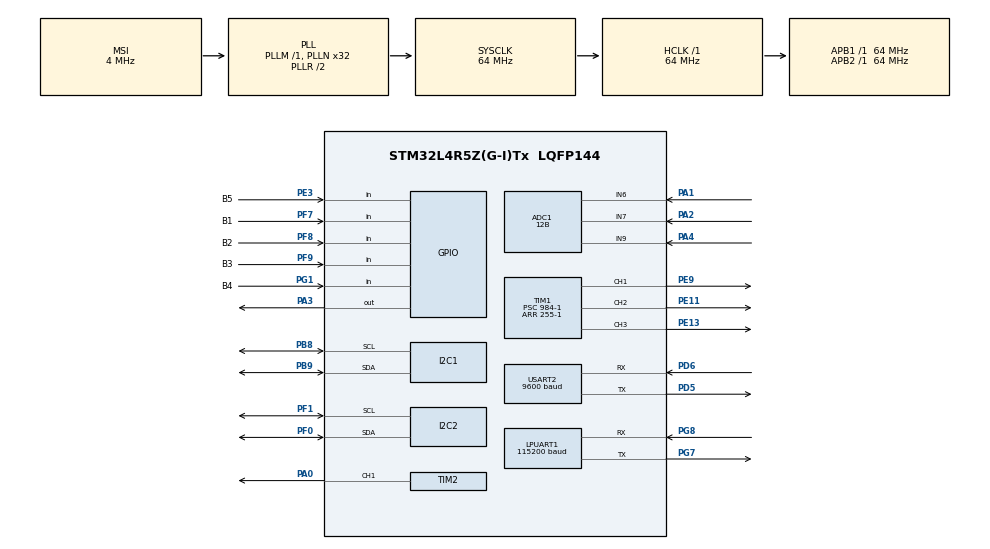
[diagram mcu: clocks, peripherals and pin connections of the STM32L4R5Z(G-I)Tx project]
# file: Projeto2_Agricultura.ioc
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ADC1.Channel-3\#ChannelRegularConversion=ADC_CHANNEL_6
ADC1.Channel-4\#ChannelRegularConversion=ADC_CHANNEL_7
ADC1.Channel-5\#ChannelRegularConversion=ADC_CHANNEL_9
ADC1.ClockPrescaler=ADC_CLOCK_ASYNC_DIV1
ADC1.ContinuousConvMode=ENABLE
ADC1.DMAContinuousRequests=ENABLE
ADC1.NbrOfConversion=3
ADC1.NbrOfConversionFlag=1
ADC1.OffsetNumber-3\#ChannelRegularConversion=ADC_OFFSET_NONE
ADC1.OffsetNumber-4\#ChannelRegularConversion=ADC_OFFSET_NONE
ADC1.OffsetNumber-5\#ChannelRegularConversion=ADC_OFFSET_NONE
ADC1.Rank-3\#ChannelRegularConversion=1
ADC1.Rank-4\#ChannelRegularConversion=2
ADC1.Rank-5\#ChannelRegularConversion=3
ADC1.Resolution=ADC_RESOLUTION_12B
ADC1.SamplingTime-3\#ChannelRegularConversion=ADC_SAMPLETIME_640CYCLES_5
ADC1.SamplingTime-4\#ChannelRegularConversion=ADC_SAMPLETIME_640CYCLES_5
ADC1.SamplingTime-5\#ChannelRegularConversion=ADC_SAMPLETIME_640CYCLES_5
ADC1.master=1
Dma.ADC1.0.Direction=DMA_PERIPH_TO_MEMORY
Dma.ADC1.0.EventEnable=DISABLE
Dma.ADC1.0.Instance=DMA1_Channel1
Dma.ADC1.0.MemDataAlignment=DMA_MDATAALIGN_WORD
Dma.ADC1.0.MemInc=DMA_MINC_ENABLE
Dma.ADC1.0.Mode=DMA_CIRCULAR
Dma.ADC1.0.PeriphDataAlignment=DMA_PDATAALIGN_WORD
Dma.ADC1.0.PeriphInc=DMA_PINC_DISABLE
Dma.ADC1.0.Polarity=HAL_DMAMUX_REQUEST_GEN_RISING
Dma.ADC1.0.Priority=DMA_PRIORITY_LOW
Dma.ADC1.0.RequestNumber=1
Dma.ADC1.0.SignalID=NONE
Dma.ADC1.0.SyncEnable=DISABLE
Dma.ADC1.0.SyncPolarity=HAL_DMAMUX_SYNC_NO_EVENT
Dma.ADC1.0.SyncRequestNumber=1
Dma.ADC1.0.SyncSignalID=NONE
Dma.Request0=ADC1
I2C1.Timing=0x10707DBC
I2C2.Timing=0x10707DBC
LPUART1.BaudRate=115200
LPUART1.WordLength=UART_WORDLENGTH_8B
Mcu.Family=STM32L4
Mcu.Name=STM32L4R5Z(G-I)Tx
Mcu.Package=LQFP144
NVIC.DMA1_Channel1_IRQn=true\:0\:0\:false\:false\:true\:false\:true
NVIC.PriorityGroup=NVIC_PRIORITYGROUP_4
PA0.Signal=S_TIM2_CH1
PA1.Signal=ADCx_IN6
PA13\ (JTMS/SWDIO).Mode=Serial_Wire
PA13\ (JTMS/SWDIO).Signal=SYS_JTMS-SWDIO
PA14\ (JTCK/SWCLK).Mode=Serial_Wire
PA14\ (JTCK/SWCLK).Signal=SYS_JTCK-SWCLK
PA2.Signal=ADCx_IN7
PA3.Signal=GPIO_Output
PA4.Signal=ADCx_IN9
PB8.Mode=I2C
PB8.Signal=I2C1_SCL
PB9.Mode=I2C
PB9.Signal=I2C1_SDA
PD5.Mode=Asynchronous
PD5.Signal=USART2_TX
PD6.Mode=Asynchronous
PD6.Signal=USART2_RX
PE11.Signal=S_TIM1_CH2
PE13.Signal=S_TIM1_CH3
PE3.GPIO_Label=B5
PE3.Signal=GPIO_Input
PE9.Signal=S_TIM1_CH1
PF0.Mode=I2C
PF0.Signal=I2C2_SDA
PF1.Mode=I2C
PF1.Signal=I2C2_SCL
PF7.GPIO_Label=B1
PF7.Signal=GPIO_Input
PF8.GPIO_Label=B2
PF8.Signal=GPIO_Input
PF9.GPIO_Label=B3
PF9.Signal=GPIO_Input
PG1.GPIO_Label=B4
PG1.Signal=GPIO_Input
PG7.Mode=Asynchronous
PG7.Signal=LPUART1_TX
PG8.Mode=Asynchronous
PG8.Signal=LPUART1_RX
ProjectManager.HeapSize=0x200
ProjectManager.StackSize=0x400
ProjectManager.TargetToolchain=STM32CubeIDE
RCC.ADCFreq_Value=32000000
RCC.AHBFreq_Value=64000000
RCC.APB1Freq_Value=64000000
RCC.APB1TimFreq_Value=64000000
RCC.APB2Freq_Value=64000000
RCC.APB2TimFreq_Value=64000000
RCC.CortexFreq_Value=64000000
RCC.HCLKFreq_Value=64000000
RCC.HSE_VALUE=8000000
RCC.HSI48_VALUE=48000000
RCC.HSI_VALUE=16000000
RCC.LSE_VALUE=32768
RCC.MSI_VALUE=4000000
RCC.PLLN=32
RCC.PLLSAI1N=16
RCC.SYSCLKFreq_VALUE=64000000
RCC.SYSCLKSource=RCC_SYSCLKSOURCE_PLLCLK
RCC.USBFreq_Value=32000000
RCC.VCOOutputFreq_Value=128000000
SH.ADCx_IN6.0=ADC1_IN6,IN6-Single-Ended
SH.ADCx_IN7.0=ADC1_IN7,IN7-Single-Ended
SH.ADCx_IN9.0=ADC1_IN9,IN9-Single-Ended
SH.S_TIM1_CH1.0=TIM1_CH1,PWM Generation1 CH1
SH.S_TIM1_CH2.0=TIM1_CH2,PWM Generation2 CH2
SH.S_TIM1_CH3.0=TIM1_CH3,PWM Generation3 CH3
SH.S_TIM2_CH1.0=TIM2_CH1,PWM Generation1 CH1
TIM1.Channel-PWM\ Generation1\ CH1=TIM_CHANNEL_1
TIM1.Channel-PWM\ Generation2\ CH2=TIM_CHANNEL_2
TIM1.Channel-PWM\ Generation3\ CH3=TIM_CHANNEL_3
TIM1.Period=255-1
TIM1.Prescaler=984-1
TIM2.Channel-PWM\ Generation1\ CH1=TIM_CHANNEL_1
TIM2.Period=1000-1
TIM2.Prescaler=900-1
USART2.BaudRate=9600
USART2.VirtualMode-Asynchronous=VM_ASYNC
VP_TIM1_VS_ClockSourceINT.Mode=Internal
VP_TIM2_VS_ClockSourceINT.Mode=Internal
board=custom

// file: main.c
/* USER CODE BEGIN Header */
/**
  ******************************************************************************
  * @file           : main.c
  * @brief          : Main program body
  ******************************************************************************
  * @attention
  *
  * <h2><center>&copy; Copyright (c) 2021 STMicroelectronics.
  * All rights reserved.</center></h2>
  *
  * This software component is licensed by ST under BSD 3-Clause license,
  * the "License"; You may not use this file except in compliance with the
  * License. You may obtain a copy of the License at:
  *                        opensource.org/licenses/BSD-3-Clause
  *
  ******************************************************************************
  */

// AUTORES:
// André Alexandre Ribeiro Araújo  	2018276072
// Bernardo Alexandre dos Santos Costa Leite  2017268958

/* USER CODE END Header */
#include "main.h"

/* USER CODE BEGIN Includes */
#include "i2c-lcd.h"
#include "sht2x_for_stm32_hal.h"
#include "DHT.h"
#include "math.h"
#include <stdio.h>
#include <string.h>
/* USER CODE END Includes */

ADC_HandleTypeDef hadc1;
DMA_HandleTypeDef hdma_adc1;

I2C_HandleTypeDef hi2c1;
I2C_HandleTypeDef hi2c2;

UART_HandleTypeDef hlpuart1;
UART_HandleTypeDef huart2;

TIM_HandleTypeDef htim1;
TIM_HandleTypeDef htim2;

void SystemClock_Config(void);
static void MX_GPIO_Init(void);
static void MX_DMA_Init(void);
static void MX_I2C1_Init(void);
static void MX_ADC1_Init(void);
static void MX_TIM1_Init(void);
static void MX_LPUART1_UART_Init(void);
static void MX_I2C2_Init(void);
static void MX_TIM2_Init(void);
static void MX_USART2_UART_Init(void);
/* USER CODE BEGIN PFP */

void set_rgb (uint8_t red, uint8_t green, uint8_t blue){   // Função para definir cores do led rgb
	htim1.Instance->CCR1 = red;
	htim1.Instance->CCR2 = green;
	htim1.Instance->CCR3 = blue;
}

/* USER CODE END PFP */

/* USER CODE BEGIN 0 */
 	uint32_t adcValue[3];

 	char buffer[64] = { 0 };
 	uint16_t slen;

 	uint16_t cont = 0;
 	float pluviosidade;

 	static DHT_sensor dht = {GPIOA, GPIO_PIN_3, DHT11, 0};

/* USER CODE END 0 */

int main(void)
{

  /* MCU Configuration--------------------------------------------------------*/

  /* Reset of all peripherals, Initializes the Flash interface and the Systick. */
  HAL_Init();

  /* Configure the system clock */
  SystemClock_Config();

  /* Initialize all configured peripherals */
  MX_GPIO_Init();
  MX_DMA_Init();
  MX_I2C1_Init();
  MX_ADC1_Init();
  MX_TIM1_Init();
  MX_LPUART1_UART_Init();
  MX_I2C2_Init();
  MX_TIM2_Init();
  MX_USART2_UART_Init();
  /* USER CODE BEGIN 2 */
  HAL_TIM_PWM_Start(&htim1, TIM_CHANNEL_1);   // Inicia o PWM do led rgb
  HAL_TIM_PWM_Start(&htim1, TIM_CHANNEL_2);   // Inicia o PWM do led rgb
  HAL_TIM_PWM_Start(&htim1, TIM_CHANNEL_3);   // Inicia o PWM do led rgb

  HAL_TIM_PWM_Start(&htim2, TIM_CHANNEL_1);   // Inicia o PWM do servo motor

  lcd_clear();

  HAL_ADC_Start_DMA(&hadc1, (uint32_t *)adcValue, 3); // start adc in DMA mode

  /* USER CODE END 2 */

  /* Infinite loop */
  /* USER CODE BEGIN WHILE */
  while (1)
  {

	  //lcd_clear();
	  lcd_send_cmd (0x80);
	  lcd_send_string ("SISTEMA DE");
	  lcd_send_cmd (0xc0);
	  lcd_send_string ("MONITORIZACAO");

	  //HAL_UART_Transmit(&huart2, "Wellcome", strlen("Wellcome"), 100);
	  //HAL_Delay(200);

	  ///////////// SENSOR TEMPERATURA E HUMIDADE DO AMBIENTE (DHT11) /////////////////////

 if(HAL_GPIO_ReadPin(B1_GPIO_Port, B1_Pin) == GPIO_PIN_RESET){

	 /*
	  SHT2x_Init(&hi2c2);
	  SHT2x_SetResolution(RES_14_12);

	  float cel = SHT2x_GetTemperature(1);
	  float rh = SHT2x_GetRelativeHumidity(1);

	  slen = sprintf(buffer, "%lu C\n", cel);
	  HAL_UART_Transmit(&hlpuart1, (uint32_t *)buffer, slen, 1000);
	  slen = sprintf(buffer, "%lu RH\n", rh);
	  HAL_UART_Transmit(&hlpuart1, (uint32_t *)buffer, slen, 1000);

	  */

	 char msg[20] = {0};
	 DHT_data d = DHT_getData(&dht);
	 lcd_clear();
	 lcd_send_cmd(0x80);
	 sprintf(msg, "TEMP:%dC", (uint8_t)d.temp);
	 lcd_send_string(msg);
	 lcd_send_cmd(0xc0);
	 sprintf(msg, "HUM:%d%%",(uint8_t)d.hum);
	 lcd_send_string(msg);

	 char msg6[20] = {0};
	 char msg7[20] = {0};
	 sprintf(msg6, "%d C\n", (uint8_t)d.temp);
	 HAL_UART_Transmit(&huart2, "Temperatura ambiental: ", strlen("Temperatura ambiental: "), 100);
	 HAL_UART_Transmit(&huart2, msg6, strlen(msg6), 100);
	 sprintf(msg7, "%d %%\n", (uint8_t)d.hum);
	 HAL_UART_Transmit(&huart2, "Humidade ambiental: ", strlen("Humidade ambiental: "), 100);
	 HAL_UART_Transmit(&huart2, msg7, strlen(msg7), 100);
	 HAL_Delay(200);

 	  set_rgb(255, 0, 0);

 	  HAL_Delay(2000);
 	  lcd_clear();
 	  set_rgb(0, 0, 0);

 }

 ///////////// SENSOR DE LUZ (LDR) /////////////////////

if(HAL_GPIO_ReadPin(B4_GPIO_Port, B4_Pin) == GPIO_PIN_RESET){
	float luminosidade = adcValue[2];
	float Luz = (luminosidade*100)/4096;   // Passar para percentagem ->  2^12 (adc resolution 12-bit) = 4096
	lcd_clear();
	lcd_send_cmd (0x80);
	lcd_send_string ("LUMINOSIDADE:");
	lcd_send_cmd (0xc0);
	lcd_send_float (Luz);
	lcd_send_cmd (0xc9);
	lcd_send_string ("%");

	char msg[20] = {0};
	sprintf(msg, "%f %%\n", Luz);
	HAL_UART_Transmit(&huart2, "Luminosidade: ", strlen("Luminosidade: "), 100);
	HAL_UART_Transmit(&huart2, msg, strlen(msg), 100);
	HAL_Delay(200);

	set_rgb(255, 0, 255);

	HAL_Delay(2000);
	lcd_clear();
	set_rgb(0, 0, 0);

}

///////////// PLUVIOSIDADE /////////////////////

if(HAL_GPIO_ReadPin(B5_GPIO_Port, B5_Pin) == GPIO_PIN_RESET){

	cont = cont + 1;
	pluviosidade = cont * 40;

	lcd_send_cmd (0x80);
	lcd_send_string ("PLUVIOSIDADE:");
	lcd_send_cmd (0xc0);
	lcd_send_float (pluviosidade);
	lcd_send_cmd (0xc9);
	lcd_send_string ("l/m2");

	char msg2[20] = {0};
	sprintf(msg2, "%f l/m2\n", pluviosidade);
	HAL_UART_Transmit(&huart2, "Pluviosidade: ", strlen("Pluviosidade: "), 100);
	HAL_UART_Transmit(&huart2, msg2, strlen(msg2), 100);
	HAL_Delay(200);

	set_rgb(255, 125, 220);

	HAL_Delay(2000);
	lcd_clear();
	set_rgb(0, 0, 0);

}

	  ///////////// SENSOR TEMPERATURA DO SOLO /////////////////////

 if(HAL_GPIO_ReadPin(B2_GPIO_Port, B2_Pin) == GPIO_PIN_RESET){

	  float Vsupply = 3.3; //power supply voltage (3.3 V rail) -STM32 ADC pin is NOT 5 V tolerant
	  float Vout; //Voltage divider output
	  float R_NTC; //NTC thermistor resistance in Ohms
	  float R_100k = 98700; //100k resistor measured resistance in Ohms (other element in the voltage divider)
	  float B_param = 3700; //B-coefficient of the thermistor
	  float T0 = 298.15; //25°C in Kelvin
	  float Temp_K; //Temperature measured by the thermistor (Kelvin)
	  float Temp_C; //Temperature measured by the thermistor (Celsius)

	  lcd_clear();
	  float VoutPin = adcValue[0];
	  Vout = VoutPin*(3.3/4095); //4095 -> 12 bit resolution of the blue pill
	  R_NTC = (Vout * R_100k) /(Vsupply - Vout); //calculating the resistance of the thermistor
	  Temp_K = (T0*B_param)/(T0*log(R_NTC/R_100k)+B_param); //Temperature in Kelvin
	  Temp_C = Temp_K - 273.15; //converting into Celsius
	  lcd_send_cmd (0x80);
	  lcd_send_string ("TEMP SOLO:");
	  lcd_send_cmd (0xc0);
	  lcd_send_float (Temp_C);
	  lcd_send_cmd (0xc9);
	  lcd_send_string ("C");

	  char msg3[20] = {0};
	  sprintf(msg3, "%f C\n", Temp_C);
	  HAL_UART_Transmit(&huart2, "Temperatura do solo: ", strlen("Temperatura do solo: "), 100);
	  HAL_UART_Transmit(&huart2, msg3, strlen(msg3), 100);
	  HAL_Delay(200);

	  //slen = sprintf(buffer, "%lu C\n", adcValue[0]);
	  //HAL_UART_Transmit(&hlpuart1, (uint32_t *)buffer, slen, 1000);

	  set_rgb(0, 0, 255);

	  HAL_Delay(2000);
	  lcd_clear();

	  set_rgb(0, 0, 0);

 }

	  ///////////// SENSOR HUMIDADE DO SOLO /////////////////////

 if(HAL_GPIO_ReadPin(B3_GPIO_Port, B3_Pin) == GPIO_PIN_RESET){

	  lcd_clear();
	  float leitura = adcValue[1];
	  float humidade_solo = ((leitura*100)/4096);   // Passar para percentagem ->  2^12 (adc resolution 12-bit) = 4096
	  lcd_send_cmd (0x80);
	  lcd_send_string ("HUM SOLO:");
	  lcd_send_cmd (0xc0);
	  lcd_send_float (humidade_solo);
	  lcd_send_cmd (0xc9);
	  lcd_send_string ("%");

	  char msg4[20] = {0};
	  sprintf(msg4, "%f %%\n", humidade_solo);
	  HAL_UART_Transmit(&huart2, "Humidade do solo: ", strlen("Humidade do solo: "), 100);
	  HAL_UART_Transmit(&huart2, msg4, strlen(msg4), 100);
	  HAL_Delay(200);

	  //slen = sprintf(buffer, "%lu RH\n", adcValue[1]);
	  //HAL_UART_Transmit(&hlpuart1, (uint32_t *)buffer, slen, 1000);

	  set_rgb(0, 255, 0);

	  //HAL_Delay(2000);

	  if(leitura < 2600){   // REGAR (leitura < 63 %)
		  HAL_Delay(2000);
		  set_rgb(0, 0, 0);
		  HAL_Delay(1000);
		  set_rgb(0, 255, 0);
		  HAL_Delay(1000);
		  set_rgb(0, 0, 0);
		  HAL_Delay(1000);
		  set_rgb(0, 255, 0);
		  HAL_Delay(1000);
		  set_rgb(0, 0, 0);
		  HAL_Delay(1000);
		  set_rgb(0, 255, 0);
		  HAL_Delay(1000);
		  set_rgb(0, 0, 0);
		  HAL_Delay(1000);

	  }

	  /*
	  //SERVO MOTOR
	  if(leitura < 2100){
		  htim2.Instance->CCR1 = 25;  // duty cycle is .5 ms
		  HAL_Delay(1000);
		  //htim2.Instance->CCR1 = 75;  // duty cycle is 1.5 ms
		  //HAL_Delay(1000);
		  htim2.Instance->CCR1 = 125;  // duty cycle is 2.5 ms
		  HAL_Delay(1000);
	  }
	  */

	  /*
	  if(humidade_solo < 2100){
		  int i = 25;
		  while(i<125){
			  htim2.Instance->CCR1 = i;
			  i++;
			  HAL_Delay(100);
		  }
	  }
	  */

	  HAL_Delay(2000);
	  lcd_clear();

	  set_rgb(0, 0, 0);

 }

    /* USER CODE END WHILE */

  }
}

void SystemClock_Config(void)
{
  RCC_OscInitTypeDef RCC_OscInitStruct = {0};
  RCC_ClkInitTypeDef RCC_ClkInitStruct = {0};
  RCC_PeriphCLKInitTypeDef PeriphClkInit = {0};

  /** Configure the main internal regulator output voltage
  */
  if (HAL_PWREx_ControlVoltageScaling(PWR_REGULATOR_VOLTAGE_SCALE1) != HAL_OK)
  {
    Error_Handler();
  }
  /** Initializes the RCC Oscillators according to the specified parameters
  * in the RCC_OscInitTypeDef structure.
  */
  RCC_OscInitStruct.OscillatorType = RCC_OSCILLATORTYPE_MSI;
  RCC_OscInitStruct.MSIState = RCC_MSI_ON;
  RCC_OscInitStruct.MSICalibrationValue = 0;
  RCC_OscInitStruct.MSIClockRange = RCC_MSIRANGE_6;
  RCC_OscInitStruct.PLL.PLLState = RCC_PLL_ON;
  RCC_OscInitStruct.PLL.PLLSource = RCC_PLLSOURCE_MSI;
  RCC_OscInitStruct.PLL.PLLM = 1;
  RCC_OscInitStruct.PLL.PLLN = 32;
  RCC_OscInitStruct.PLL.PLLP = RCC_PLLP_DIV2;
  RCC_OscInitStruct.PLL.PLLQ = RCC_PLLQ_DIV2;
  RCC_OscInitStruct.PLL.PLLR = RCC_PLLR_DIV2;
  if (HAL_RCC_OscConfig(&RCC_OscInitStruct) != HAL_OK)
  {
    Error_Handler();
  }
  /** Initializes the CPU, AHB and APB buses clocks
  */
  RCC_ClkInitStruct.ClockType = RCC_CLOCKTYPE_HCLK|RCC_CLOCKTYPE_SYSCLK
                              |RCC_CLOCKTYPE_PCLK1|RCC_CLOCKTYPE_PCLK2;
  RCC_ClkInitStruct.SYSCLKSource = RCC_SYSCLKSOURCE_PLLCLK;
  RCC_ClkInitStruct.AHBCLKDivider = RCC_SYSCLK_DIV1;
  RCC_ClkInitStruct.APB1CLKDivider = RCC_HCLK_DIV1;
  RCC_ClkInitStruct.APB2CLKDivider = RCC_HCLK_DIV1;

  if (HAL_RCC_ClockConfig(&RCC_ClkInitStruct, FLASH_LATENCY_3) != HAL_OK)
  {
    Error_Handler();
  }
  PeriphClkInit.PeriphClockSelection = RCC_PERIPHCLK_USART2|RCC_PERIPHCLK_LPUART1
                              |RCC_PERIPHCLK_I2C1|RCC_PERIPHCLK_I2C2
                              |RCC_PERIPHCLK_ADC;
  PeriphClkInit.Usart2ClockSelection = RCC_USART2CLKSOURCE_PCLK1;
  PeriphClkInit.Lpuart1ClockSelection = RCC_LPUART1CLKSOURCE_PCLK1;
  PeriphClkInit.I2c1ClockSelection = RCC_I2C1CLKSOURCE_PCLK1;
  PeriphClkInit.I2c2ClockSelection = RCC_I2C2CLKSOURCE_PCLK1;
  PeriphClkInit.AdcClockSelection = RCC_ADCCLKSOURCE_PLLSAI1;
  PeriphClkInit.PLLSAI1.PLLSAI1Source = RCC_PLLSOURCE_MSI;
  PeriphClkInit.PLLSAI1.PLLSAI1M = 1;
  PeriphClkInit.PLLSAI1.PLLSAI1N = 16;
  PeriphClkInit.PLLSAI1.PLLSAI1P = RCC_PLLP_DIV2;
  PeriphClkInit.PLLSAI1.PLLSAI1Q = RCC_PLLQ_DIV2;
  PeriphClkInit.PLLSAI1.PLLSAI1R = RCC_PLLR_DIV2;
  PeriphClkInit.PLLSAI1.PLLSAI1ClockOut = RCC_PLLSAI1_ADC1CLK;
  if (HAL_RCCEx_PeriphCLKConfig(&PeriphClkInit) != HAL_OK)
  {
    Error_Handler();
  }
}

static void MX_ADC1_Init(void)
{

  ADC_ChannelConfTypeDef sConfig = {0};

  /** Common config
  */
  hadc1.Instance = ADC1;
  hadc1.Init.ClockPrescaler = ADC_CLOCK_ASYNC_DIV1;
  hadc1.Init.Resolution = ADC_RESOLUTION_12B;
  hadc1.Init.DataAlign = ADC_DATAALIGN_RIGHT;
  hadc1.Init.ScanConvMode = ADC_SCAN_ENABLE;
  hadc1.Init.EOCSelection = ADC_EOC_SINGLE_CONV;
  hadc1.Init.LowPowerAutoWait = DISABLE;
  hadc1.Init.ContinuousConvMode = ENABLE;
  hadc1.Init.NbrOfConversion = 3;
  hadc1.Init.DiscontinuousConvMode = DISABLE;
  hadc1.Init.ExternalTrigConv = ADC_SOFTWARE_START;
  hadc1.Init.ExternalTrigConvEdge = ADC_EXTERNALTRIGCONVEDGE_NONE;
  hadc1.Init.DMAContinuousRequests = ENABLE;
  hadc1.Init.Overrun = ADC_OVR_DATA_PRESERVED;
  hadc1.Init.OversamplingMode = DISABLE;
  if (HAL_ADC_Init(&hadc1) != HAL_OK)
  {
    Error_Handler();
  }
  /** Configure Regular Channel
  */
  sConfig.Channel = ADC_CHANNEL_6;
  sConfig.Rank = ADC_REGULAR_RANK_1;
  sConfig.SamplingTime = ADC_SAMPLETIME_640CYCLES_5;
  sConfig.SingleDiff = ADC_SINGLE_ENDED;
  sConfig.OffsetNumber = ADC_OFFSET_NONE;
  sConfig.Offset = 0;
  if (HAL_ADC_ConfigChannel(&hadc1, &sConfig) != HAL_OK)
  {
    Error_Handler();
  }
  /** Configure Regular Channel
  */
  sConfig.Channel = ADC_CHANNEL_7;
  sConfig.Rank = ADC_REGULAR_RANK_2;
  if (HAL_ADC_ConfigChannel(&hadc1, &sConfig) != HAL_OK)
  {
    Error_Handler();
  }
  /** Configure Regular Channel
  */
  sConfig.Channel = ADC_CHANNEL_9;
  sConfig.Rank = ADC_REGULAR_RANK_3;
  if (HAL_ADC_ConfigChannel(&hadc1, &sConfig) != HAL_OK)
  {
    Error_Handler();
  }

}

static void MX_I2C1_Init(void)
{

  hi2c1.Instance = I2C1;
  hi2c1.Init.Timing = 0x10707DBC;
  hi2c1.Init.OwnAddress1 = 0;
  hi2c1.Init.AddressingMode = I2C_ADDRESSINGMODE_7BIT;
  hi2c1.Init.DualAddressMode = I2C_DUALADDRESS_DISABLE;
  hi2c1.Init.OwnAddress2 = 0;
  hi2c1.Init.OwnAddress2Masks = I2C_OA2_NOMASK;
  hi2c1.Init.GeneralCallMode = I2C_GENERALCALL_DISABLE;
  hi2c1.Init.NoStretchMode = I2C_NOSTRETCH_DISABLE;
  if (HAL_I2C_Init(&hi2c1) != HAL_OK)
  {
    Error_Handler();
  }
  /** Configure Analogue filter
  */
  if (HAL_I2CEx_ConfigAnalogFilter(&hi2c1, I2C_ANALOGFILTER_ENABLE) != HAL_OK)
  {
    Error_Handler();
  }
  /** Configure Digital filter
  */
  if (HAL_I2CEx_ConfigDigitalFilter(&hi2c1, 0) != HAL_OK)
  {
    Error_Handler();
  }

}

static void MX_I2C2_Init(void)
{

  hi2c2.Instance = I2C2;
  hi2c2.Init.Timing = 0x10707DBC;
  hi2c2.Init.OwnAddress1 = 0;
  hi2c2.Init.AddressingMode = I2C_ADDRESSINGMODE_7BIT;
  hi2c2.Init.DualAddressMode = I2C_DUALADDRESS_DISABLE;
  hi2c2.Init.OwnAddress2 = 0;
  hi2c2.Init.OwnAddress2Masks = I2C_OA2_NOMASK;
  hi2c2.Init.GeneralCallMode = I2C_GENERALCALL_DISABLE;
  hi2c2.Init.NoStretchMode = I2C_NOSTRETCH_DISABLE;
  if (HAL_I2C_Init(&hi2c2) != HAL_OK)
  {
    Error_Handler();
  }
  /** Configure Analogue filter
  */
  if (HAL_I2CEx_ConfigAnalogFilter(&hi2c2, I2C_ANALOGFILTER_ENABLE) != HAL_OK)
  {
    Error_Handler();
  }
  /** Configure Digital filter
  */
  if (HAL_I2CEx_ConfigDigitalFilter(&hi2c2, 0) != HAL_OK)
  {
    Error_Handler();
  }

}

static void MX_LPUART1_UART_Init(void)
{

  hlpuart1.Instance = LPUART1;
  hlpuart1.Init.BaudRate = 115200;
  hlpuart1.Init.WordLength = UART_WORDLENGTH_8B;
  hlpuart1.Init.StopBits = UART_STOPBITS_1;
  hlpuart1.Init.Parity = UART_PARITY_NONE;
  hlpuart1.Init.Mode = UART_MODE_TX_RX;
  hlpuart1.Init.HwFlowCtl = UART_HWCONTROL_NONE;
  hlpuart1.Init.OneBitSampling = UART_ONE_BIT_SAMPLE_DISABLE;
  hlpuart1.Init.ClockPrescaler = UART_PRESCALER_DIV1;
  hlpuart1.AdvancedInit.AdvFeatureInit = UART_ADVFEATURE_NO_INIT;
  hlpuart1.FifoMode = UART_FIFOMODE_DISABLE;
  if (HAL_UART_Init(&hlpuart1) != HAL_OK)
  {
    Error_Handler();
  }
  if (HAL_UARTEx_SetTxFifoThreshold(&hlpuart1, UART_TXFIFO_THRESHOLD_1_8) != HAL_OK)
  {
    Error_Handler();
  }
  if (HAL_UARTEx_SetRxFifoThreshold(&hlpuart1, UART_RXFIFO_THRESHOLD_1_8) != HAL_OK)
  {
    Error_Handler();
  }
  if (HAL_UARTEx_DisableFifoMode(&hlpuart1) != HAL_OK)
  {
    Error_Handler();
  }

}

static void MX_USART2_UART_Init(void)
{

  huart2.Instance = USART2;
  huart2.Init.BaudRate = 9600;
  huart2.Init.WordLength = UART_WORDLENGTH_8B;
  huart2.Init.StopBits = UART_STOPBITS_1;
  huart2.Init.Parity = UART_PARITY_NONE;
  huart2.Init.Mode = UART_MODE_TX_RX;
  huart2.Init.HwFlowCtl = UART_HWCONTROL_NONE;
  huart2.Init.OverSampling = UART_OVERSAMPLING_16;
  huart2.Init.OneBitSampling = UART_ONE_BIT_SAMPLE_DISABLE;
  huart2.Init.ClockPrescaler = UART_PRESCALER_DIV1;
  huart2.AdvancedInit.AdvFeatureInit = UART_ADVFEATURE_NO_INIT;
  if (HAL_UART_Init(&huart2) != HAL_OK)
  {
    Error_Handler();
  }
  if (HAL_UARTEx_SetTxFifoThreshold(&huart2, UART_TXFIFO_THRESHOLD_1_8) != HAL_OK)
  {
    Error_Handler();
  }
  if (HAL_UARTEx_SetRxFifoThreshold(&huart2, UART_RXFIFO_THRESHOLD_1_8) != HAL_OK)
  {
    Error_Handler();
  }
  if (HAL_UARTEx_DisableFifoMode(&huart2) != HAL_OK)
  {
    Error_Handler();
  }

}

static void MX_TIM1_Init(void)
{

  TIM_ClockConfigTypeDef sClockSourceConfig = {0};
  TIM_MasterConfigTypeDef sMasterConfig = {0};
  TIM_OC_InitTypeDef sConfigOC = {0};
  TIM_BreakDeadTimeConfigTypeDef sBreakDeadTimeConfig = {0};

  htim1.Instance = TIM1;
  htim1.Init.Prescaler = 984-1;
  htim1.Init.CounterMode = TIM_COUNTERMODE_UP;
  htim1.Init.Period = 255-1;
  htim1.Init.ClockDivision = TIM_CLOCKDIVISION_DIV1;
  htim1.Init.RepetitionCounter = 0;
  htim1.Init.AutoReloadPreload = TIM_AUTORELOAD_PRELOAD_DISABLE;
  if (HAL_TIM_Base_Init(&htim1) != HAL_OK)
  {
    Error_Handler();
  }
  sClockSourceConfig.ClockSource = TIM_CLOCKSOURCE_INTERNAL;
  if (HAL_TIM_ConfigClockSource(&htim1, &sClockSourceConfig) != HAL_OK)
  {
    Error_Handler();
  }
  if (HAL_TIM_PWM_Init(&htim1) != HAL_OK)
  {
    Error_Handler();
  }
  sMasterConfig.MasterOutputTrigger = TIM_TRGO_RESET;
  sMasterConfig.MasterOutputTrigger2 = TIM_TRGO2_RESET;
  sMasterConfig.MasterSlaveMode = TIM_MASTERSLAVEMODE_DISABLE;
  if (HAL_TIMEx_MasterConfigSynchronization(&htim1, &sMasterConfig) != HAL_OK)
  {
    Error_Handler();
  }
  sConfigOC.OCMode = TIM_OCMODE_PWM1;
  sConfigOC.Pulse = 0;
  sConfigOC.OCPolarity = TIM_OCPOLARITY_HIGH;
  sConfigOC.OCNPolarity = TIM_OCNPOLARITY_HIGH;
  sConfigOC.OCFastMode = TIM_OCFAST_DISABLE;
  sConfigOC.OCIdleState = TIM_OCIDLESTATE_RESET;
  sConfigOC.OCNIdleState = TIM_OCNIDLESTATE_RESET;
  if (HAL_TIM_PWM_ConfigChannel(&htim1, &sConfigOC, TIM_CHANNEL_1) != HAL_OK)
  {
    Error_Handler();
  }
  if (HAL_TIM_PWM_ConfigChannel(&htim1, &sConfigOC, TIM_CHANNEL_2) != HAL_OK)
  {
    Error_Handler();
  }
  if (HAL_TIM_PWM_ConfigChannel(&htim1, &sConfigOC, TIM_CHANNEL_3) != HAL_OK)
  {
    Error_Handler();
  }
  sBreakDeadTimeConfig.OffStateRunMode = TIM_OSSR_DISABLE;
  sBreakDeadTimeConfig.OffStateIDLEMode = TIM_OSSI_DISABLE;
  sBreakDeadTimeConfig.LockLevel = TIM_LOCKLEVEL_OFF;
  sBreakDeadTimeConfig.DeadTime = 0;
  sBreakDeadTimeConfig.BreakState = TIM_BREAK_DISABLE;
  sBreakDeadTimeConfig.BreakPolarity = TIM_BREAKPOLARITY_HIGH;
  sBreakDeadTimeConfig.BreakFilter = 0;
  sBreakDeadTimeConfig.Break2State = TIM_BREAK2_DISABLE;
  sBreakDeadTimeConfig.Break2Polarity = TIM_BREAK2POLARITY_HIGH;
  sBreakDeadTimeConfig.Break2Filter = 0;
  sBreakDeadTimeConfig.AutomaticOutput = TIM_AUTOMATICOUTPUT_DISABLE;
  if (HAL_TIMEx_ConfigBreakDeadTime(&htim1, &sBreakDeadTimeConfig) != HAL_OK)
  {
    Error_Handler();
  }
  HAL_TIM_MspPostInit(&htim1);

}

static void MX_TIM2_Init(void)
{

  TIM_ClockConfigTypeDef sClockSourceConfig = {0};
  TIM_MasterConfigTypeDef sMasterConfig = {0};
  TIM_OC_InitTypeDef sConfigOC = {0};

  htim2.Instance = TIM2;
  htim2.Init.Prescaler = 900-1;
  htim2.Init.CounterMode = TIM_COUNTERMODE_UP;
  htim2.Init.Period = 1000-1;
  htim2.Init.ClockDivision = TIM_CLOCKDIVISION_DIV1;
  htim2.Init.AutoReloadPreload = TIM_AUTORELOAD_PRELOAD_DISABLE;
  if (HAL_TIM_Base_Init(&htim2) != HAL_OK)
  {
    Error_Handler();
  }
  sClockSourceConfig.ClockSource = TIM_CLOCKSOURCE_INTERNAL;
  if (HAL_TIM_ConfigClockSource(&htim2, &sClockSourceConfig) != HAL_OK)
  {
    Error_Handler();
  }
  if (HAL_TIM_PWM_Init(&htim2) != HAL_OK)
  {
    Error_Handler();
  }
  sMasterConfig.MasterOutputTrigger = TIM_TRGO_RESET;
  sMasterConfig.MasterSlaveMode = TIM_MASTERSLAVEMODE_DISABLE;
  if (HAL_TIMEx_MasterConfigSynchronization(&htim2, &sMasterConfig) != HAL_OK)
  {
    Error_Handler();
  }
  sConfigOC.OCMode = TIM_OCMODE_PWM1;
  sConfigOC.Pulse = 0;
  sConfigOC.OCPolarity = TIM_OCPOLARITY_HIGH;
  sConfigOC.OCFastMode = TIM_OCFAST_DISABLE;
  if (HAL_TIM_PWM_ConfigChannel(&htim2, &sConfigOC, TIM_CHANNEL_1) != HAL_OK)
  {
    Error_Handler();
  }
  HAL_TIM_MspPostInit(&htim2);

}

static void MX_DMA_Init(void)
{

  /* DMA controller clock enable */
  __HAL_RCC_DMAMUX1_CLK_ENABLE();
  __HAL_RCC_DMA1_CLK_ENABLE();

  /* DMA interrupt init */
  /* DMA1_Channel1_IRQn interrupt configuration */
  HAL_NVIC_SetPriority(DMA1_Channel1_IRQn, 0, 0);
  HAL_NVIC_EnableIRQ(DMA1_Channel1_IRQn);

}

static void MX_GPIO_Init(void)
{
  GPIO_InitTypeDef GPIO_InitStruct = {0};

  /* GPIO Ports Clock Enable */
  __HAL_RCC_GPIOE_CLK_ENABLE();
  __HAL_RCC_GPIOF_CLK_ENABLE();
  __HAL_RCC_GPIOA_CLK_ENABLE();
  __HAL_RCC_GPIOG_CLK_ENABLE();
  HAL_PWREx_EnableVddIO2();
  __HAL_RCC_GPIOD_CLK_ENABLE();
  __HAL_RCC_GPIOB_CLK_ENABLE();

  /*Configure GPIO pin Output Level */
  HAL_GPIO_WritePin(GPIOA, GPIO_PIN_3, GPIO_PIN_RESET);

  /*Configure GPIO pin : B5_Pin */
  GPIO_InitStruct.Pin = B5_Pin;
  GPIO_InitStruct.Mode = GPIO_MODE_INPUT;
  GPIO_InitStruct.Pull = GPIO_NOPULL;
  HAL_GPIO_Init(B5_GPIO_Port, &GPIO_InitStruct);

  /*Configure GPIO pins : B1_Pin B2_Pin B3_Pin */
  GPIO_InitStruct.Pin = B1_Pin|B2_Pin|B3_Pin;
  GPIO_InitStruct.Mode = GPIO_MODE_INPUT;
  GPIO_InitStruct.Pull = GPIO_NOPULL;
  HAL_GPIO_Init(GPIOF, &GPIO_InitStruct);

  /*Configure GPIO pin : PA3 */
  GPIO_InitStruct.Pin = GPIO_PIN_3;
  GPIO_InitStruct.Mode = GPIO_MODE_OUTPUT_PP;
  GPIO_InitStruct.Pull = GPIO_NOPULL;
  GPIO_InitStruct.Speed = GPIO_SPEED_FREQ_LOW;
  HAL_GPIO_Init(GPIOA, &GPIO_InitStruct);

  /*Configure GPIO pin : B4_Pin */
  GPIO_InitStruct.Pin = B4_Pin;
  GPIO_InitStruct.Mode = GPIO_MODE_INPUT;
  GPIO_InitStruct.Pull = GPIO_NOPULL;
  HAL_GPIO_Init(B4_GPIO_Port, &GPIO_InitStruct);

}

void Error_Handler(void)
{
  __disable_irq();
  while (1)
  {
  }
}

/************************ (C) COPYRIGHT STMicroelectronics *****END OF FILE****/
